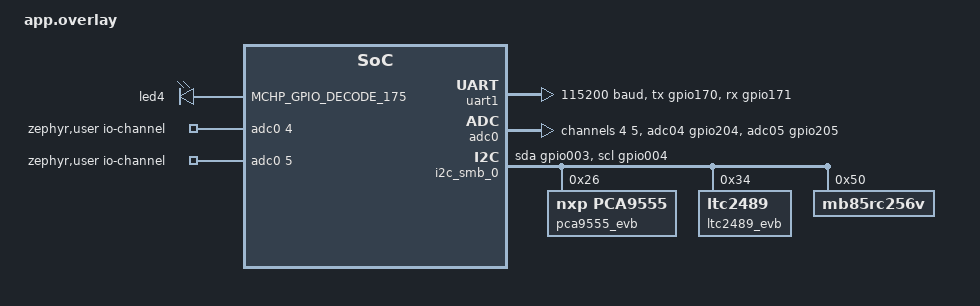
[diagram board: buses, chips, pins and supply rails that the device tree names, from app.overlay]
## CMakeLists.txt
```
# SPDX-License-Identifier: Apache-2.0

cmake_minimum_required(VERSION 3.20.0)
find_package(Zephyr REQUIRED HINTS $ENV{ZEPHYR_BASE})
project(pm_soc)

FILE(GLOB app_sources src/*.c)
target_sources(app PRIVATE ${app_sources})
```

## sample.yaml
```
tests:
  boards.mchp_mec.pm_soc:
    build_only: true
    platform_allow:
      - mec_assy6906/mech1723_nsz
      - mec_assy6906/mech1723_nlj
      - mec_assy6941/mec1743_qlj
      - mec_assy6941/mec1743_qsz
      - mec_assy6941/mec1753_qlj
      - mec_assy6941/mec1753_qsz
    tags: board pm
```

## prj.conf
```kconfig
CONFIG_LOG=y
CONFIG_LOG_MODE_IMMEDIATE=y
#CONFIG_LOG_MODE_MINIMAL=y
#CONFIG_LOG_MODE_DEFERRED=y
#CONFIG_LOG_BUFFER_SIZE=2048
CONFIG_LOG_BACKEND_UART=y
#CONFIG_LOG_BACKEND_SWO=y
#CONFIG_LOG_BACKEND_SWO_REF_FREQ_HZ=96000000
#CONFIG_LOG_BACKEND_SWO_FREQ_HZ=4000000

CONFIG_GPIO=y
CONFIG_PINCTRL=y
CONFIG_LED=y
CONFIG_SERIAL=y
CONFIG_CONSOLE=y
CONFIG_UART_CONSOLE=y
CONFIG_ADC=y
CONFIG_ADC_ASYNC=y
CONFIG_I2C=y

CONFIG_PM=y

CONFIG_THREAD_NAME=y

# SoC PM debug
CONFIG_SOC_MEC_PM_DEBUG_DEEP_SLEEP_CLK_REQ=y

# Help debug new code
# CONFIG_DEBUG_COREDUMP=y
# CONFIG_TRAP_UNALIGNED_ACCESS=y
# CONFIG_DEBUG=y
```

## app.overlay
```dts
/*
 * Copyright (c) 2024 Microchip Technology Inc.
 *
 * SPDX-License-Identifier: Apache-2.0
 */

#include <zephyr/dt-bindings/adc/adc.h>
#include <zephyr/dt-bindings/gpio/gpio.h>
#include <zephyr/dt-bindings/gpio/microchip-xec-gpio.h>

/*
 * MEC5_ASSY6941
 * JP7 2-3 GPIO055 pulled-down via 10K to ground.
 * JP23 14-15 selects GPIO055 as SHD_nCS0
 * JP42 1-2 connects 1.8V
 * JP60 2-3 VTR2 is powered by 1.8V
 * NOTE: VTR3 is always 1.8V
 *
 * Boot-ROM GPIO055 as RSMRST#
 * GPIO Control register value = 0x0200
 * Output, push-pull, driver low, no internal pulls,
 * interrupt detection = level low, alternate out enabled.
 * ROM drives pin high(inactive) using alternate out (bit[16] of control register)
 * Control register = 0x10200
 *
 * GPIO175/CMP_VOUT1/PWM8_ALT on schematic, LED4 on silkscreen.
 *
 * I2C00_SDA/SCL = GPIO003/004
 * Install Jumper JP14 4-5 to route GPIO004 as I2C00_SCL
 * Install Jumper JP14 7-8 to route GPIO003 as I2C00_SDA
 * Install Jumper JP68 21-22 7.5K pull-up to VTR1 for I2C00_SCL
 * Install Jumper JP68 23-24 7.5K pull-up to VTR1 for I2C00_SDA
 *
 * U4 is PCA9555 I2C GPIO expander
 * JP49 1-2 use +3.3V_STBY
 * JP58 1-2, 3-4 connect I2C00_SCL and I2C00_SDA to EXTERNAL_SCLK/SDATA
 * JP53 selects I2C address
 * 1-2 = A0, 3-4 = A1, 5-6 = A2 all pull-up by default. Install jumper to ground signals.
 * Installed jumper on JP53 1-2. I2C Address = 0x26
 *
 * U19 is LTC2489 I2C 4-channel delta-sigma ADC
 * Address select pins CA0, CA1 both pulled high. Install jumpers to ground signals.
 * Installed jumpers on JP124 1-2 and 3-4. I2C Address = 0x34
 *
 * Attached Fujitsu MB85RC256V I2C FRAM demo board to 6-pin header J10
 * AdaFruit I2C FRAM breakout board.
 * NOTE: removed demo board 1K pulls on SCL and SDA. Using EVB pulls on SCL/SDA.
 * This device allows testing of larger I2C messages and breaking up large transactions
 * into multiple message buffers.
 * FRAM board power -> J10-5 VTR1 (3.3V)
 * FRAM board GND   -> J10-6 GND
 * FRAM board SCL   -> J10-1 I2C00_SCL
 * FRAM board SDA   -> J10-3 I2C00_SDA
 * FRAM address pins A0, A1, A2 are internally pulled-down.
 * I2C Address = 1010_A2_A1_A0 = 0x50 (default)
 */

/ {
	chosen {
		zephyr,console = &uart1;
	};

	aliases {
		led0 = &led4;
		i2c0 = &i2c_smb_0;
		i2c-0 = &i2c_smb_0;
	};

	leds {
		compatible = "gpio-leds";
		led4: led_0 {
			gpios = <MCHP_GPIO_DECODE_175 GPIO_ACTIVE_HIGH>;
		};
	};

	power-states {
		idle: idle {
			compatible = "zephyr,power-state";
			power-state-name = "suspend-to-idle";
			min-residency-us = <1000000>;
		};

		suspend_to_ram: suspend_to_ram {
			compatible = "zephyr,power-state";
			power-state-name = "suspend-to-ram";
			min-residency-us = <2000000>;
		};
	};

	zephyr,user {
		pinctrl-0 = <&vci_in1_n_gpio162 &vci_in2_n_gpio161 &tst_clk_out_gpio060>;
		pinctrl-names = "default";
		io-channels = <&adc0 4>, <&adc0 5>;
	};
};

&uart1 {
	current-speed = <115200>;
	status = "okay";
	pinctrl-0 = <&uart1_tx_gpio170 &uart1_rx_gpio171>;
	pinctrl-names = "default";
};

&adc0 {
	compatible="microchip,mec5-adc-sar";
	#address-cells = <1>;
	#size-cells = <0>;

	status = "okay";

	pinctrl-0 = <&adc04_gpio204 &adc05_gpio205>;
	pinctrl-names = "default";

	channel@4 {
		reg = <4>;
		zephyr,gain = "ADC_GAIN_1";
		zephyr,reference = "ADC_REF_INTERNAL";
		zephyr,acquisition-time = <ADC_ACQ_TIME_DEFAULT>;
		zephyr,resolution = <12>;
	};

	channel@5 {
		reg = <5>;
		zephyr,gain = "ADC_GAIN_1";
		zephyr,reference = "ADC_REF_INTERNAL";
		zephyr,acquisition-time = <ADC_ACQ_TIME_DEFAULT>;
		zephyr,resolution = <12>;
	};
};

&i2c_smb_0 {
	compatible = "microchip,mec5-i2c";
	status = "okay";
	port_sel = < 0 >;
	sda-gpios = < MCHP_GPIO_DECODE_003 0 >;
	scl-gpios = < MCHP_GPIO_DECODE_004 0 >;
	pinctrl-0 = < &i2c00_sda_gpio003 &i2c00_scl_gpio004 >;
	pinctrl-names = "default";

	pca9555_evb: pca9555@26 {
		/* Zephyr will load NXP PCA9555 driver after MEC5 I2C because it calls MEC5 I2C during init */
		compatible = "nxp,pca9555";
		reg = <0x26>;
		ngpios = <16>;
		gpio-controller;
		#gpio-cells = <2>;
	};

	ltc2489_evb: ltc2489@34 {
		/* No Zephyr driver exists */
		reg = <0x34>;
		#io-channels-cells = <1>;
	};

	/* External Fujitsu MB85RC256V 256KB (32K x 8) FRAM */
	mb85rc256v: mb85rc256v@50 {
		/* No Zephyr driver exists */
		reg = <0x50>;
	};
};

&i2c00_scl_gpio004 {
	drive-open-drain;
	output-enable;
	output-high;
	drive-strength = "2x";
};

&i2c00_sda_gpio003 {
	drive-open-drain;
	output-enable;
	output-high;
	drive-strength = "2x";
};
```

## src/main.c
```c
/*
 * Copyright (c) 2012-2014 Wind River Systems, Inc.
 * Copyright (c) 2022 Microchip Technology, Inc.
 *
 * SPDX-License-Identifier: Apache-2.0
 */

#include <errno.h>
#include <stdbool.h>
#include <stdint.h>
#include <string.h>
#include <soc.h>

#include <zephyr/device.h>
#include <zephyr/devicetree.h>
#include <zephyr/kernel.h>
#include <zephyr/drivers/adc.h>
#include <zephyr/drivers/gpio.h>
#include <zephyr/drivers/i2c.h>
#include <zephyr/drivers/pinctrl.h>
#include <zephyr/sys/sys_io.h>

#include <zephyr/logging/log_ctrl.h>
#include <zephyr/logging/log.h>
LOG_MODULE_REGISTER(app, CONFIG_LOG_DEFAULT_LEVEL);

/* MEC5 HAL */
#include <mec_ecs_api.h>
#include <mec_gpio_api.h>
#include <mec_pcr_api.h>
#include <mec_vci_api.h>

/* local */
#include "power_mgmt.h"

/* output drive high using alternate output mode */
#define SCOPE_GPIO_CTRL_INIT 0x10240u

#define ZEPHYR_USER_NODE DT_PATH(zephyr_user)

PINCTRL_DT_DEFINE(ZEPHYR_USER_NODE);

const struct pinctrl_dev_config *app_pinctrl_cfg = PINCTRL_DT_DEV_CONFIG_GET(ZEPHYR_USER_NODE);

static const struct device *i2c_dev = DEVICE_DT_GET(DT_ALIAS(i2c0));

/* Access devices on an I2C bus using Device Tree child nodes of the I2C controller */
static const struct i2c_dt_spec pca9555_dts = I2C_DT_SPEC_GET(DT_NODELABEL(pca9555_evb));

#define DT_SPEC_AND_COMMA(node_id, prop, idx) \
	ADC_DT_SPEC_GET_BY_IDX(node_id, idx),

/* Data of ADC io-channels specified in devicetree. */
static const struct adc_dt_spec adc_channels[] = {
	DT_FOREACH_PROP_ELEM(DT_PATH(zephyr_user), io_channels,
			     DT_SPEC_AND_COMMA)
};

static volatile uint32_t spin_val;
static volatile int ret_val;
static struct i2c_msg msgs[4];
static uint8_t buf1[16];
static uint8_t buf2[16];

static void spin_on(uint32_t id, int rval);
static int config_adc_channels(void);

int read_pca9555(void);
int read_adc_channels(void);

/* The following GPIO's are manipulated directly to provide scope triggers.
 * GPIO012 (I2C07_SDA/I3C01_SDA_TARGET) JP14 16-17 ON
 * GPIO013 (I2C07_SCL/I3C01_SCL_TARGET) JP14 7-8 ON, J57 5-6 OFF(not installed),
 * GPIO014 (PWM6) JP14 10-11 ON JP79 13-14 OFF(not installed)
 *
 * Board pull-ups
 * GPIO012 JP76 21-22 (7.5K pull-up to VTR2)
 * GPIO013 JP76 23-24 (7.5K pull-up to VTR2)
 * GPIO014 JP76 13-14 (100K pull -up to VTR2)
 *
 * J22 (1x6)
 * 1 = GPIO013/I2C07_SCL/I3C01_SCL
 * 2 = GND
 * 3 = GPIO012/I2C07_SDA/I3C01_SDA
 * 4 = NC
 * 5 = VTR2
 * 6 = GND
 *
 * JP79 2x12
 * 13 = GPIO14/PWM6
 */
int main(void)
{
	uint32_t vci_pin_bitmap = BIT(MEC_VCI_IN1_POS) | BIT(MEC_VCI_IN2_POS);
	uint32_t i2c_dev_config = 0;
	bool use_logging = true;
	int ret = 0;
	uint8_t cycles = 0;
	uint8_t nmsgs = 0;

	LOG_INF("MEC5 SoC PM sample: board: %s", DT_N_P_compatible_IDX_0);

	mec_hal_gpio_set_config(MEC_PIN_0012, SCOPE_GPIO_CTRL_INIT);
	mec_hal_gpio_set_config(MEC_PIN_0013, SCOPE_GPIO_CTRL_INIT);
	mec_hal_gpio_set_config(MEC_PIN_0014, SCOPE_GPIO_CTRL_INIT);

	ret = pinctrl_apply_state(app_pinctrl_cfg, PINCTRL_STATE_DEFAULT);
	if (ret) {
		LOG_ERR("App pin control state apply error: %d", ret);
		spin_on((uint32_t)__LINE__, ret);
	}

	ret = config_adc_channels();
	if (ret) {
		LOG_ERR("ADC config failed (%d)", ret);
		spin_on((uint32_t)__LINE__, ret);
	}

	if (!device_is_ready(i2c_dev)) {
		LOG_ERR("I2C device is not ready! (%d)", -3);
		spin_on((uint32_t)__LINE__, -3);
	}

	i2c_dev_config = I2C_SPEED_SET(I2C_SPEED_STANDARD) | I2C_MODE_CONTROLLER;

	ret = i2c_configure(i2c_dev, i2c_dev_config);
	if (ret) {
		LOG_ERR("I2C configuration error (%d)", ret);
		spin_on((uint32_t)__LINE__, ret);
	}

	nmsgs = 1u;
	buf1[0] = 2u; /* PCA9555 cmd=2 is output port 0 */
	buf1[1] = 0x55u;
	buf1[2] = 0xaau;
	msgs[0].buf = buf1;
	msgs[0].len = 3u;
	msgs[0].flags = I2C_MSG_WRITE | I2C_MSG_STOP;

	ret = i2c_transfer_dt(&pca9555_dts, msgs, nmsgs);
	if (ret) {
		LOG_ERR("I2C write to PCA9555 error (%d)", ret);
		spin_on((uint32_t)__LINE__, ret);
	}

	ret = mec_hal_vci_in_input_enable(MEC_VCI, vci_pin_bitmap);
	if (ret != MEC_RET_OK) {
		LOG_ERR("App VCI input enable error: %d", ret);
		spin_on((uint32_t)__LINE__, 1);
	}
	ret = mec_hal_vci_in_latch_enable(MEC_VCI, vci_pin_bitmap);
	if (ret != MEC_RET_OK) {
		LOG_ERR("App VCI input latch enable error: %d", ret);
		spin_on((uint32_t)__LINE__, 1);
	}
	ret = mec_hal_vci_in_latch_reset(MEC_VCI, vci_pin_bitmap);
	if (ret != MEC_RET_OK) {
		LOG_ERR("App VCI input latch reset error: %d", ret);
		spin_on((uint32_t)__LINE__, 1);
	}

	mec_hal_vci_edge_detect_clr_all(MEC_VCI);

	cycles = 255u;
	ret = test_pwr_mgmt_singlethread(use_logging, cycles);
	if (ret) {
		LOG_ERR("Power single thread test returned error (%d)", ret);
		spin_on((uint32_t)__LINE__, ret);
	}

	LOG_INF("Test multi-thread PM");
	ret = test_pwr_mgmt_multithread(use_logging, cycles);
	if (ret) {
		LOG_ERR("Power multi-thread test returned error (%d)", ret);
		spin_on((uint32_t)__LINE__, ret);
	}

	LOG_INF("Application Done (%d)", ret);
	spin_on(256, 0);

	return 0;
}

static void spin_on(uint32_t id, int rval)
{
	spin_val = id;
	ret_val = rval;

	log_panic(); /* flush log buffers */

	while (spin_val) {
		;
	}
}

static int config_adc_channels(void)
{
	int ret = 0;

	for (size_t i = 0U; i < ARRAY_SIZE(adc_channels); i++) {
		if (!adc_is_ready_dt(&adc_channels[i])) {
			LOG_ERR("ADC controller device %s not ready\n", adc_channels[i].dev->name);
			return ret;
		}

		ret = adc_channel_setup_dt(&adc_channels[i]);
		if (ret < 0) {
			LOG_ERR("Could not setup channel #%d (%d)\n", i, ret);
			return ret;
		}
	}

	return 0;
}

int read_adc_channels(void)
{
	int ret;
	uint16_t buf;
	struct adc_sequence sequence = {
		.buffer = &buf,
		/* buffer size in bytes, not number of samples */
		.buffer_size = sizeof(buf),
	};

	for (size_t i = 0U; i < ARRAY_SIZE(adc_channels); i++) {
		int32_t val_mv;

		LOG_INF("ADC - %s, channel %d: ", adc_channels[i].dev->name,
		       adc_channels[i].channel_id);

		(void)adc_sequence_init_dt(&adc_channels[i], &sequence);

		ret = adc_read_dt(&adc_channels[i], &sequence);
		if (ret < 0) {
			LOG_ERR("Could not read (%d)", ret);
			continue;
		}

		/*
		 * If using differential mode, the 16 bit value
		 * in the ADC sample buffer should be a signed 2's
		 * complement value.
		 */
		if (adc_channels[i].channel_cfg.differential) {
			val_mv = (int32_t)((int16_t)buf);
		} else {
			val_mv = (int32_t)buf;
		}
		LOG_INF("%"PRId32, val_mv);
		ret = adc_raw_to_millivolts_dt(&adc_channels[i], &val_mv);
		/* conversion to mV may not be supported, skip if not */
		if (ret < 0) {
			LOG_ERR("Value in mV not available");
		} else {
			LOG_INF(" = %"PRId32" mV", val_mv);
		}
	}

	return 0;
}

int read_pca9555(void)
{
	int ret = 0;
	uint8_t nmsgs = 2u;

	buf1[0] = 0u; /* PCA9555 cmd=0 is input port 0 */
	buf2[0] = 0x55u; /* receive buffer */
	buf2[1] = 0x55u;

	msgs[0].buf = buf1;
	msgs[0].len = 1u;
	msgs[0].flags = I2C_MSG_WRITE;

	msgs[1].buf = buf2;
	msgs[1].len = 2u;
	msgs[1].flags = I2C_MSG_READ | I2C_MSG_STOP;

	ret = i2c_transfer_dt(&pca9555_dts, msgs, nmsgs);
	if (ret) {
		LOG_ERR("I2C transfer error: write cmd byte, read 2 data bytes: (%d)", ret);
		return ret;
	}

	LOG_INF("PCA9555 Port 0 input = 0x%02x  Port 1 input = 0x%02x", buf2[0], buf2[1]);
	return 0;
}
```

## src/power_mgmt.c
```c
/*
 * Copyright (c) 2020 Intel Corporation
 * Copyright (c) 2022 Microchip Technology Inc.
 *
 * SPDX-License-Identifier: Apache-2.0
 */

#include <errno.h>
#include <soc.h>

#include <zephyr/device.h>
#include <zephyr/dt-bindings/gpio/microchip-xec-gpio.h>
#include <zephyr/kernel.h>
#include <zephyr/pm/pm.h>
#include <zephyr/logging/log.h>
#define LOG_LEVEL LOG_LEVEL_DBG
LOG_MODULE_REGISTER(pwrmgmt_test);

/* MEC5 HAL */
#include <mec_gpio_api.h>
#include <mec_vbat_api.h>

#define SLP_STATES_SUPPORTED      2ul

/* Thread properties */
#define TASK_STACK_SIZE           1024ul
#define PRIORITY                  K_PRIO_COOP(5)
/* Sleep time should be lower than SUSPEND_TO_IDLE residency time */
#define THREAD_A_SLEEP_TIME       100ul
#define THREAD_B_SLEEP_TIME       1000ul

/* Maximum latency should be less than 300 ms */
#define MAX_EXPECTED_MS_LATENCY   500ul

/* Sleep some extra time than minimum residency */
#define DP_EXTRA_SLP_TIME         1100ul
#define LT_EXTRA_SLP_TIME         500ul

#define SEC_TO_MSEC               1000ul

#define DBG_VBAT_MEM_NUM_WORDS	8
#define DBG_VBAT_MEM_START_OFS	0

#define PM_ZEPHYR_USER_NODE DT_PATH(zephyr_user)


static void debug_mec5_pm(void);

K_THREAD_STACK_DEFINE(stack_a, TASK_STACK_SIZE);
K_THREAD_STACK_DEFINE(stack_b, TASK_STACK_SIZE);

static struct k_thread thread_a_id;
static struct k_thread thread_b_id;

struct pm_counter {
	uint8_t entry_cnt;
	uint8_t exit_cnt;
};

/* Track time elapsed */
static int64_t trigger_time;
static bool checks_enabled;
/* Track entry/exit to sleep */
struct pm_counter pm_counters[SLP_STATES_SUPPORTED];

static const struct pm_state_info residency_info[] =
	PM_STATE_INFO_LIST_FROM_DT_CPU(DT_NODELABEL(cpu0));
static size_t residency_info_len = DT_NUM_CPU_POWER_STATES(DT_NODELABEL(cpu0));

extern int read_pca9555(void);
extern int read_adc_channels(void);

/* Instrumentation to measure latency and track entry exit via gpios
 * TODO update for MEC172x EVB
 * In EVB set following jumpers:
 * JP99 7-8     closed
 * JP99 10-11   closed
 * JP75 29-30   closed
 * JP75 32-33   closed
 *
 * In EVB probe following pins:
 * JP25.3 (GPIO012_LT) light sleep
 * JP25.5 (GPIO013_DP) deep sleep
 * JP25.7 (GPIO014_TRIG) trigger in app
 * JP75.29 (GPIO60_CLK_OUT)
 */

static void pm_latency_check(void)
{
	int64_t latency;
	int secs;
	int msecs;

	latency = k_uptime_delta(&trigger_time);
	secs = (int)(latency / SEC_TO_MSEC);
	msecs = (int)(latency % SEC_TO_MSEC);
	LOG_INF("PM sleep entry latency %d.%03d seconds", secs, msecs);

	if (secs > 0) {
		LOG_WRN("Sleep entry latency is too high");
		return;
	}

	if (msecs > MAX_EXPECTED_MS_LATENCY) {
		LOG_WRN("Sleep entry latency is higher than expected");
	}
}

/* Hooks to count entry/exit */
static void notify_pm_state_entry(enum pm_state state)
{
	if (!checks_enabled) {
		return;
	}

	switch (state) {
	case PM_STATE_SUSPEND_TO_IDLE:
		mec_hal_gpio_alt_out(MEC_PIN_0012, 0);
		pm_counters[0].entry_cnt++;
		break;
	case PM_STATE_SUSPEND_TO_RAM:
		mec_hal_gpio_alt_out(MEC_PIN_0013, 0);
		pm_counters[1].entry_cnt++;
		pm_latency_check();
		break;
	default:
		break;
	}
}

static void notify_pm_state_exit(enum pm_state state)
{
	if (!checks_enabled) {
		return;
	}

	switch (state) {
	case PM_STATE_SUSPEND_TO_IDLE:
		mec_hal_gpio_alt_out(MEC_PIN_0012, 1);
		pm_counters[0].exit_cnt++;
		break;
	case PM_STATE_SUSPEND_TO_RAM:
		mec_hal_gpio_alt_out(MEC_PIN_0013, 1);
		pm_counters[1].exit_cnt++;
		break;
	default:
		break;
	}
}

static void pm_check_counters(uint8_t cycles)
{
	for (int i = 0; i < SLP_STATES_SUPPORTED; i++) {
		LOG_INF("PM state[%d] entry counter %d", i,
			pm_counters[i].entry_cnt);
		LOG_INF("PM state[%d] exit counter %d", i,
			pm_counters[i].exit_cnt);

		if (pm_counters[i].entry_cnt != pm_counters[i].exit_cnt) {
			LOG_WRN("PM counters entry/exit mismatch");
		}

		if (pm_counters[i].entry_cnt != cycles) {
			LOG_WRN("PM counter mismatch expected: %d", cycles);
		}

		pm_counters[i].entry_cnt = 0;
		pm_counters[i].exit_cnt = 0;
	}
}

static void pm_reset_counters(void)
{
	for (int i = 0; i < SLP_STATES_SUPPORTED; i++) {
		pm_counters[i].entry_cnt = 0;
		pm_counters[i].exit_cnt = 0;
	}

	checks_enabled = false;
	mec_hal_gpio_alt_out(MEC_PIN_0014, 1);
}

static void pm_trigger_marker(void)
{
	trigger_time = k_uptime_get();

	/* Directly access a pin to mark sleep trigger */
	mec_hal_gpio_alt_out(MEC_PIN_0014, 0);
	printk("PM >\n");
}

static void pm_exit_marker(void)
{
	int64_t residency_delta;
	int secs;
	int msecs;

	/* Directly access a pin */
	mec_hal_gpio_alt_out(MEC_PIN_0014, 1);
	printk("PM <\n");

	if (trigger_time > 0) {
		residency_delta = k_uptime_delta(&trigger_time);
		secs = (int)(residency_delta / SEC_TO_MSEC);
		msecs = (int)(residency_delta % SEC_TO_MSEC);
		LOG_INF("PM sleep residency %d.%03d seconds", secs, msecs);
	}
}

static int task_a_init(void)
{
	LOG_INF("Thread task A init");

	return 0;
}

static int task_b_init(void)
{
	printk("Thread task B init");

	return 0;
}

void task_a_thread(void *p1, void *p2, void *p3)
{
	while (true) {
		k_msleep(THREAD_A_SLEEP_TIME);
		printk("A");
		LOG_INF("Thread A");
		read_pca9555();
	}
}

static void task_b_thread(void *p1, void *p2, void *p3)
{
	while (true) {
		k_msleep(THREAD_B_SLEEP_TIME);
		printk("B");
		LOG_INF("Thread B");
		read_adc_channels();
	}
}

static void create_tasks(void)
{
	task_a_init();
	task_b_init();

	k_thread_create(&thread_a_id, stack_a, TASK_STACK_SIZE, task_a_thread,
		NULL, NULL, NULL, PRIORITY,  K_INHERIT_PERMS, K_FOREVER);
	k_thread_create(&thread_b_id, stack_b, TASK_STACK_SIZE, task_b_thread,
		NULL, NULL, NULL, PRIORITY,  K_INHERIT_PERMS, K_FOREVER);

	k_thread_start(&thread_a_id);
	k_thread_start(&thread_b_id);

}

static void destroy_tasks(void)
{
	k_thread_abort(&thread_a_id);
	k_thread_abort(&thread_b_id);

	k_thread_join(&thread_a_id, K_FOREVER);
	k_thread_join(&thread_b_id, K_FOREVER);
}

static void suspend_all_tasks(void)
{
	k_thread_suspend(&thread_a_id);
	k_thread_suspend(&thread_b_id);
}

static void resume_all_tasks(void)
{
	k_thread_resume(&thread_a_id);
	k_thread_resume(&thread_b_id);
}

static struct pm_notifier notifier = {
	.state_entry = notify_pm_state_entry,
	.state_exit = notify_pm_state_exit,
};

int test_pwr_mgmt_multithread(bool use_logging, uint8_t cycles)
{
	uint8_t iterations = cycles;
	/* Ensure we can enter deep sleep when stopping threads
	 * No UART output should occur when threads are suspended
	 * Test to verify Zephyr RTOS issue #20033
	 * https://github.com/zephyrproject-rtos/zephyr/issues/20033
	 */

	pm_notifier_register(&notifier);
	create_tasks();

	LOG_WRN("PM multi-thread test started for cycles: %d, logging: %d",
		cycles, use_logging);

	checks_enabled = true;
	while (iterations-- > 0) {

		/* Light sleep cycle */
		LOG_INF("Suspend...");
		suspend_all_tasks();
		LOG_INF("About to enter light sleep");
		k_msleep((residency_info[0].min_residency_us / 1000U) +
			 LT_EXTRA_SLP_TIME);
		k_busy_wait(100);

		if (use_logging) {
			LOG_INF("Wake from Light Sleep");
		} else {
			printk("Wake from Light Sleep\n");
		}

		LOG_INF("Resume");
		resume_all_tasks();

		/* Deep sleep cycle */
		LOG_INF("Suspend...");
		suspend_all_tasks();
		LOG_INF("About to enter deep sleep");

		/* GPIO toggle to measure latency for deep sleep */
		pm_trigger_marker();
		k_msleep(
		   (residency_info[residency_info_len - 1].min_residency_us /
		    1000U) + DP_EXTRA_SLP_TIME);
		k_busy_wait(100);

		if (use_logging) {
			LOG_INF("Wake from Deep Sleep");
			debug_mec5_pm();
		} else {
			printk("Wake from Deep Sleep\n");
			debug_mec5_pm();
		}

		pm_exit_marker();
		LOG_INF("Resume");
		resume_all_tasks();
	}

	destroy_tasks();

	LOG_INF("PM multi-thread completed");
	pm_check_counters(cycles);
	pm_reset_counters();
	pm_notifier_unregister(&notifier);

	return 0;
}

int test_pwr_mgmt_singlethread(bool use_logging, uint8_t cycles)
{
	uint8_t iterations = cycles;

	LOG_WRN("PM single-thread test started for cycles: %d, logging: %d",
		cycles, use_logging);

	pm_notifier_register(&notifier);
	checks_enabled = true;
	while (iterations-- > 0) {

		read_pca9555();

		/* Trigger Light Sleep 1 state. 48MHz PLL stays on */
		LOG_INF("About to enter light sleep");
		k_msleep((residency_info[0].min_residency_us / 1000U) +
			 LT_EXTRA_SLP_TIME);
		k_busy_wait(100);

		if (use_logging) {
			LOG_INF("Wake from Light Sleep");
		} else {
			printk("Wake from Light Sleep\n");
		}

		read_adc_channels();

		/* Trigger Deep Sleep 1 state. 48MHz PLL off */
		LOG_INF("About to enter deep Sleep");

		/* GPIO toggle to measure latency */
		pm_trigger_marker();
		k_msleep(
		   (residency_info[residency_info_len - 1].min_residency_us /
		    1000U) + DP_EXTRA_SLP_TIME);
		k_busy_wait(100);

		if (use_logging) {
			LOG_INF("Wake from Deep Sleep");
			debug_mec5_pm();
		} else {
			printk("Wake from Deep Sleep\n");
			debug_mec5_pm();
		}

		pm_exit_marker();
	}

	LOG_INF("PM single-thread completed");
	pm_check_counters(cycles);
	pm_reset_counters();
	pm_notifier_unregister(&notifier);

	return 0;
}

static void debug_mec5_pm(void)
{
	int i = 0, ret = 0;
	uint32_t v = 0;
	uint16_t byte_ofs = DBG_VBAT_MEM_START_OFS;

	for (i = 0; i < DBG_VBAT_MEM_NUM_WORDS; i++) {
		v = 0;
		ret = mec_hal_bbram_rd32(byte_ofs, &v);
		if (ret != MEC_RET_OK) {
			printk("VBAT Mem Read32 at byte offset %u error (%d)", byte_ofs, ret);
			return;
		}

		printk("  0x%08x\n", v);

		mec_hal_bbram_wr32(byte_ofs, 0);
		byte_ofs += 4U;
	}
}
```

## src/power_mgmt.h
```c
/*
 * Copyright (c) 2024 Microchip Technology Inc.
 * Copyright (c) 2022 Microchip Technology Inc.
 * Copyright (c) 2020 Intel Corporation
 *
 * SPDX-License-Identifier: Apache-2.0
 */

#ifndef __TEST_PWRMGMT_H__
#define __TEST_PWRMGMT_H__


/** @brief Alternates between light and deep sleep cycles.
 *
 * For light sleep, the test sleeps in main thread for 500 ms longer than
 * SUSPEND_TO_IDLE residency.
 *
 * Similarly for deep sleep, the test sleeps in the main thread for 500 ms
 * longer than STANDBY residency.
 *
 * @param use_logging test progress will be reported using logging,
 *        otherwise printk.
 * @param cycles to repeat the cycle described above.
 * @retval 0 if successful, errno otherwise.
 */
int test_pwr_mgmt_singlethread(bool use_logging, uint8_t cycles);

/** @brief Alternates between light and deep sleep cycles.
 *
 * Performs same approach to achieve light and deep sleep, but additional
 * it suspend all threads within the app.
 *
 * @param use_logging test progress will be reported using logging,
 *        otherwise printk.
 * @param cycles to repeat the cycle described above.
 * @retval 0 if successful, errno otherwise.
 */
int test_pwr_mgmt_multithread(bool use_logging, uint8_t cycles);

#endif /* __TEST_PWRMGMT_H__ */
```
